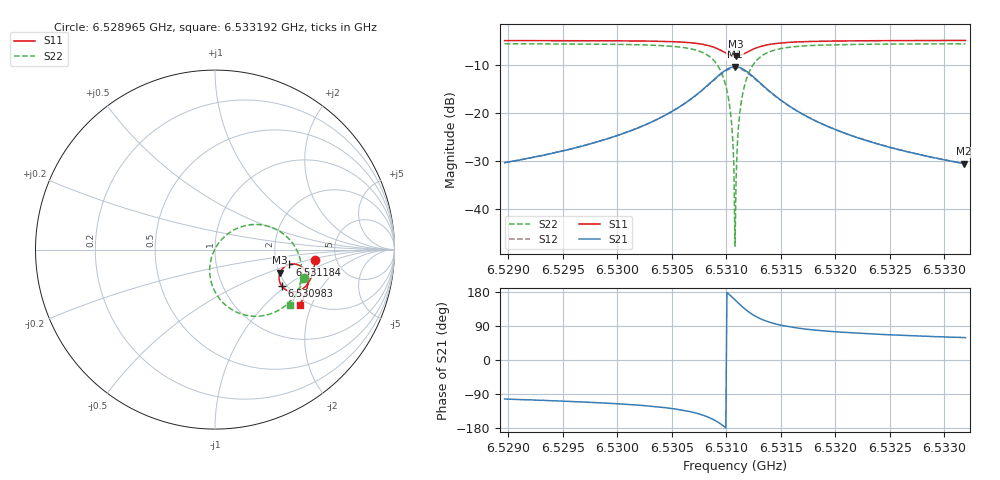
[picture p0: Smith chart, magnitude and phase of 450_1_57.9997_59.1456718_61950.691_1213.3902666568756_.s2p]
#  HZ  S  RI  R  50.00
! Rohde & Schwarz Vector Network Analyzer
! Rohde-Schwarz,ZNB20-2Port,1311601062101988,3.16
! Created: UTC 3/21/2024, 1:10:25 AM
! freq[Hz]  re:S11  im:S11  re:S21  im:S21  re:S12  im:S12  re:S22  im:S22
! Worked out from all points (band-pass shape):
!   401 points, 6.528965 GHz to 6.533192 GHz, reference 50 ohm
!   highest |S21| = -10.43 dB at 6.531078 GHz (marker M1); lowest = -30.5 dB at 6.533182 GHz (marker M2)
!   |S21| within 3 dB of the highest: 6.530869 GHz to 6.531292 GHz (422.2 kHz wide, 0.00646 % of centre)
!   lowest |S11| = -8.3 dB at 6.531089 GHz (marker M3), VSWR 2.25, Z = 101 - j30.3 ohm
!   |S11| at or under -10 dB: nowhere
!   |S22| runs from -47.6 to -5.7 dB; largest |S21 - S12| = 0.012
!   S11 on the Smith chart (normalised r, x): 6.528965 GHz: 3.45, -0.58; 6.530983 GHz: 1.88, -0.93; 6.531184 GHz: 2.35, -0.47; 6.533192 GHz: 1.82, -1.65
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6.5289647e9  0.5582 -0.0579  -0.00676 -0.0297  -0.00739 -0.0296  0.4948 -0.1609
6.5296728e9  0.5478 -0.1164  -0.016 -0.0424  -0.017 -0.042  0.4647 -0.2264
6.530381e9  0.5196 -0.1857  -0.0489 -0.0726  -0.051 -0.0713  0.3852 -0.3179
6.5308037e9  0.45 -0.235  -0.1543 -0.0983  -0.1566 -0.0922  0.1827 -0.3679
6.5309094e9  0.4063 -0.2301  -0.2222 -0.0729  -0.2217 -0.0638  0.0663 -0.3153
6.5309834e9  0.3722 -0.2036  -0.2728 -0.0161  -0.2675 -0.00655  -0.0111 -0.2115
6.5310362e9  0.3579 -0.1685  -0.29 0.0501  -0.281 0.0572  -0.0292 -0.0988
6.5310468e9  0.3571 -0.1604  -0.2898 0.0649  -0.2802 0.0713  -0.0262 -0.0744
6.5310574e9  0.3572 -0.1521  -0.2881 0.0801  -0.2781 0.0855  -0.0211 -0.0498
6.5310679e9  0.3584 -0.1438  -0.2849 0.0948  -0.2745 0.0994  -0.0133 -0.0258
6.5310785e9  0.3603 -0.1356  -0.2801 0.1096  -0.2696 0.1131  -0.00333 -0.0025
6.5310891e9  0.3632 -0.1277  -0.2738 0.1237  -0.2633 0.1262  0.00909 0.0196
6.5310996e9  0.3667 -0.1202  -0.2663 0.1369  -0.256 0.1387  0.0235 0.0403
6.5311102e9  0.3711 -0.1132  -0.2575 0.1494  -0.2474 0.1502  0.0397 0.0595
6.5311313e9  0.3817 -0.1009  -0.2372 0.171  -0.2279 0.1703  0.0765 0.0918
6.5311842e9  0.4143 -0.0828  -0.1781 0.2031  -0.1715 0.2  0.1795 0.1355
6.5312582e9  0.4564 -0.0832  -0.1038 0.2057  -0.1005 0.2026  0.3049 0.1274
6.5313639e9  0.4931 -0.1054  -0.0397 0.1753  -0.0382 0.1737  0.4094 0.0623
6.5317866e9  0.5181 -0.1849  0.0155 0.0846  0.0163 0.0843  0.4829 -0.1277
6.5324947e9  0.4984 -0.2565  0.0175 0.0404  0.0183 0.0403  0.4551 -0.2445
6.5331817e9  0.4715 -0.3075  0.0152 0.0255  0.0159 0.0254  0.4208 -0.3052
6.5331923e9  0.4711 -0.3082  0.0154 0.0255  0.0158 0.0251  0.4204 -0.3059
